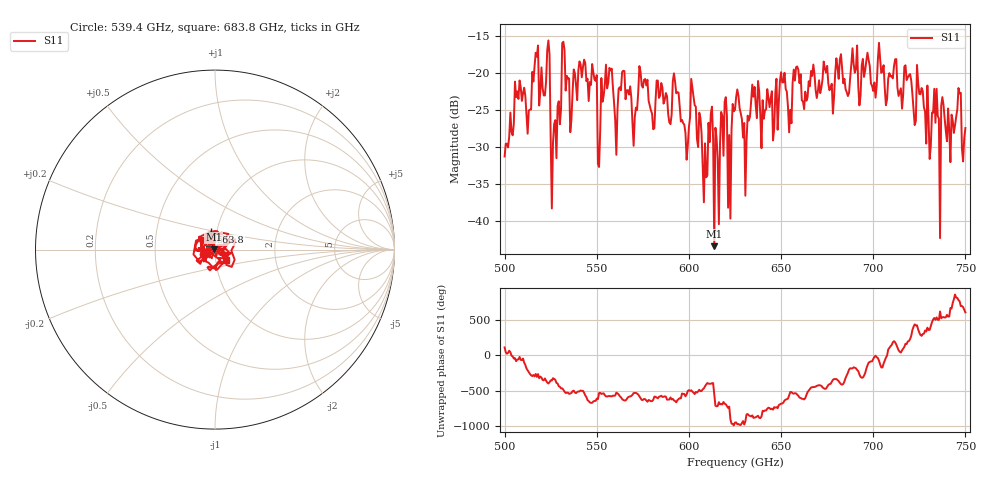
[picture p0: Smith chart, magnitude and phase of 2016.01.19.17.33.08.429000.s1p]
!Created with skrf (http://scikit-rf.org).
# GHz S RI R 50.0
!freq ReS11 ImS11
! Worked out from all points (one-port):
!   401 points, 500 GHz to 750 GHz, reference 50 ohm
!   lowest |S11| = -43.5 dB at 613.8 GHz (marker M1), VSWR 1.01, Z = 49.3 + j0.081 ohm
!   |S11| at or under -10 dB: start of sweep to end of sweep
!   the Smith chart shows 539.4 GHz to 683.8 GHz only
!   S11 on the Smith chart (normalised r, x): 539.4 GHz: 0.89, -0.05; 563.8 GHz: 0.94, +0.19; 683.8 GHz: 1.13, -0.13
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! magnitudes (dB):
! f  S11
! 500 GHz  -31.3
! 516.9 GHz  -17.3
! 523.1 GHz  -16.9
! 526.9 GHz  -26.9
! 531.2 GHz  -16.0
! 539.4 GHz  -23.7
! 548.8 GHz  -20.9
! 551.9 GHz  -27.8
! 556.2 GHz  -21.3
! 562.5 GHz  -21.9
! 563.8 GHz  -19.9
! 570.6 GHz  -26.0
! 574.4 GHz  -21.7
! 593.8 GHz  -22.6
! 598.8 GHz  -31.7
! 602.5 GHz  -23.2
! 608.8 GHz  -29.5
! 613.8 GHz  -43.5
! 618.8 GHz  -31.2
! 622.5 GHz  -39.7
! 625 GHz  -25.0
! 630 GHz  -26.8
! 635 GHz  -23.2
! 656.2 GHz  -21.4
! 683.8 GHz  -21.4
! 687.5 GHz  -20.6
! 718.8 GHz  -20.6
! 750 GHz  -27.5
